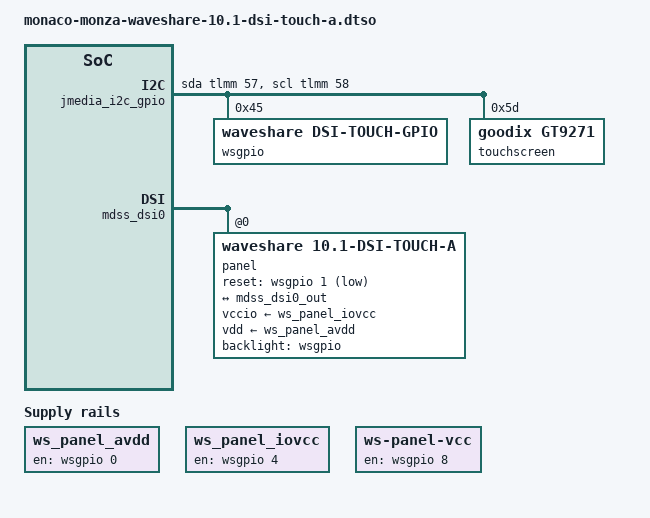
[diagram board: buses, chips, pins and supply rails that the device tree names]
// SPDX-License-Identifier: (GPL-2.0+ OR BSD-3-Clause)
/*
 * Arduino VENTUNO Q (arduino,monza) + Waveshare UNO-Q-DSI-TOUCH-10.1A
 * (10.1-DSI-TOUCH-A panel, 800x1280, JD9365DA, Goodix touch) on JMEDIA/JMISC.
 * Ported from Arduino's UNO Q overlay qrb2210-arduino-imola-carrier-media-panel-10in_touch_a-dsi.
 *
 * Board facts (schematic ABX00181 sheet VIDEO + pinout p5):
 *  - The single DSI goes through a mux whose select is the HDMI hot-plug line: with no HDMI
 *    cable the lanes go to JMEDIA, so nothing has to be switched from software.
 *  - Panel MCU 0x45 / Goodix 0x5d / PCA9555 0x26 sit on JMEDIA 51/53 = GPIO58 SCL / GPIO57 SDA.
 *    Those are the pins of CamX CCI0 master 0 (CAMERA0), which is not a Linux I2C adapter, so the
 *    bus is bit-banged like the board's own cci1_i2c1_gpio and CCI0 m0 is parked on GPIO function.
 *    => CAMERA0 sensors cannot be reached while this overlay is active.
 *  - ADV7535 (HDMI) shares the DSI host, so it and its audio link are disabled here.
 */

/dts-v1/;
/plugin/;

&{/} {
	ws_panel_avdd: regulator-ws-panel-avdd {
		compatible = "regulator-fixed";
		regulator-name = "ws-panel-avdd";
		gpios = <&wsgpio 0 0>;
		enable-active-high;
	};

	ws_panel_iovcc: regulator-ws-panel-iovcc {
		compatible = "regulator-fixed";
		regulator-name = "ws-panel-iovcc";
		gpios = <&wsgpio 4 0>;
		enable-active-high;
	};

	regulator-ws-panel-vcc {
		compatible = "regulator-fixed";
		regulator-name = "ws-panel-vcc";
		gpios = <&wsgpio 8 0>;
		enable-active-high;
		regulator-always-on;
	};

	jmedia_i2c_gpio: jmedia-i2c-gpio {
		compatible = "i2c-gpio";
		/* GPIO_ACTIVE_HIGH | GPIO_OPEN_DRAIN */
		sda-gpios = <&tlmm 57 6>;
		scl-gpios = <&tlmm 58 6>;
		i2c-gpio,delay-us = <2>;	/* ~100 kHz */
		#address-cells = <1>;
		#size-cells = <0>;
		status = "okay";

		wsgpio: gpio@45 {
			compatible = "waveshare,dsi-touch-gpio";
			reg = <0x45>;
			gpio-controller;
			#gpio-cells = <2>;
		};

		touchscreen@5d {
			compatible = "goodix,gt9271";
			reg = <0x5d>;
			/*
			 * No reset-gpios: the 6.8 goodix driver wants to switch the line to input,
			 * which the output-only panel MCU rejects (-EIO). The MCU driver releases
			 * the touch reset (bit 9) at probe. No IRQ line either: polling mode.
			 */
		};
	};
};

&tlmm {
	jmedia_i2c_sda_gpio: jmedia-i2c-sda-gpio-state {
		pins = "gpio57";
		function = "gpio";
		drive-strength = <2>;
		bias-pull-up;
	};

	jmedia_i2c_scl_gpio: jmedia-i2c-scl-gpio-state {
		pins = "gpio58";
		function = "gpio";
		drive-strength = <2>;
		bias-pull-up;
	};
};

/* CamX CCI0: master 0 active/suspend states no longer switch GPIO57/58 to the CCI function. */
&{/soc@0/qcom,cci0@ac13000} {
	pinctrl-0 = <&jmedia_i2c_sda_gpio &jmedia_i2c_scl_gpio>;
	pinctrl-1 = <&jmedia_i2c_sda_gpio &jmedia_i2c_scl_gpio>;
};

/* CAMERA0 sensor slots hang off CCI0 master 0, which has no pins any more: stop CamX probing them
 * (every probe was a CCI timeout in the log, retried every 3 s). */
&{/soc@0/qcom,cci0@ac13000/qcom,cam-sensor23} {
	status = "disabled";
};

&{/soc@0/qcom,cci0@ac13000/qcom,cam-sensor24} {
	status = "disabled";
};

&adv7535 {
	status = "disabled";
};

&{/sound/hdmi-mi2s-playback-dai-link} {
	status = "disabled";
};

&mdss_dsi0 {
	panel@0 {
		compatible = "waveshare,10.1-dsi-touch-a", "jadard,jd9365da-h3";
		reg = <0>;
		reset-gpios = <&wsgpio 1 1>;	/* GPIO_ACTIVE_LOW */
		vccio-supply = <&ws_panel_iovcc>;
		vdd-supply = <&ws_panel_avdd>;
		backlight = <&wsgpio>;

		port {
			ws_panel_in: endpoint {
				remote-endpoint = <&mdss_dsi0_out>;
			};
		};
	};
};

&mdss_dsi0_out {
	remote-endpoint = <&ws_panel_in>;
	data-lanes = <0 1 2 3>;
};
